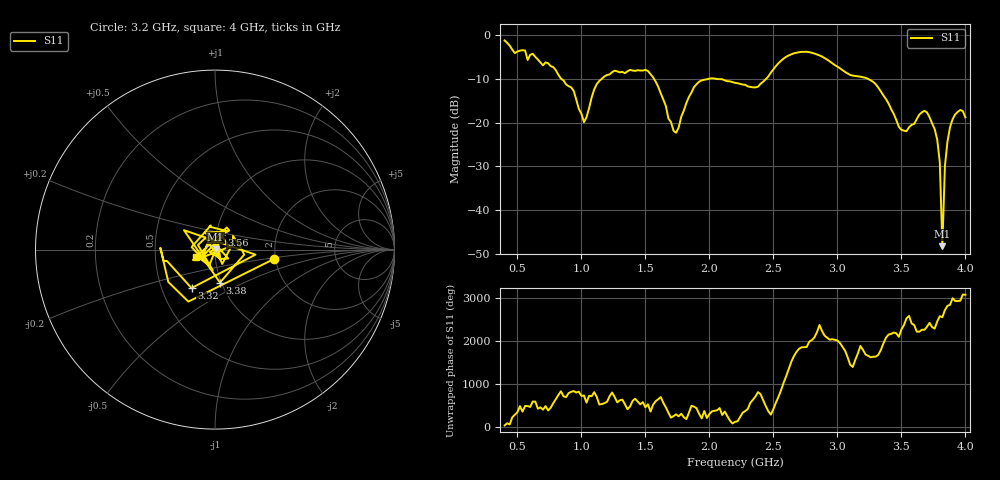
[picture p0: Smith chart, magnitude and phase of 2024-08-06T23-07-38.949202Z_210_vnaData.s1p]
!Created with skrf (http://scikit-rf.org).
# Hz S RI R 50.0
!freq ReS11 ImS11
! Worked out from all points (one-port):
!   181 points, 400 MHz to 4 GHz, reference 50 ohm
!   lowest |S11| = -48.3 dB at 3.82 GHz (marker M1), VSWR 1.01, Z = 50.3 + j0.228 ohm
!   |S11| at or under -10 dB: 1.568 GHz to 1.99 GHz (421.9 MHz wide, 23.7 % of centre); 2.057 GHz to 2.442 GHz (384.8 MHz wide, 17.1 % of centre); 3.241 GHz to end of sweep (the widest 3 of 4)
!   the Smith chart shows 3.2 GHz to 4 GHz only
!   S11 on the Smith chart (normalised r, x): 3.2 GHz: 1.95, -0.23; 3.32 GHz: 0.71, -0.32; 3.38 GHz: 0.99, -0.38; 3.56 GHz: 1.06, +0.17; 4 GHz: 0.80, -0.07
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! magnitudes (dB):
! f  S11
! 400 MHz  -1.2
! 860 MHz  -10.3
! 940 MHz  -12.8
! 1.02 GHz  -19.9
! 1.12 GHz  -11.2
! 1.3 GHz  -8.5
! 1.52 GHz  -8.2
! 1.6 GHz  -11.8
! 1.72 GHz  -21.9
! 1.76 GHz  -21.1
! 1.92 GHz  -10.6
! 2.2 GHz  -10.9
! 2.38 GHz  -11.8
! 2.66 GHz  -4.1
! 3.1 GHz  -9.1
! 3.2 GHz  -9.6
! 3.32 GHz  -12.0
! 3.38 GHz  -14.6
! 3.48 GHz  -21.0
! 3.56 GHz  -21.0
! 3.68 GHz  -17.3
! 3.76 GHz  -21.5
! 3.8 GHz  -29.1
! 3.82 GHz  -48.3
! 3.84 GHz  -29.9
! 3.88 GHz  -21.0
! 3.96 GHz  -17.1
! 4 GHz  -18.8
